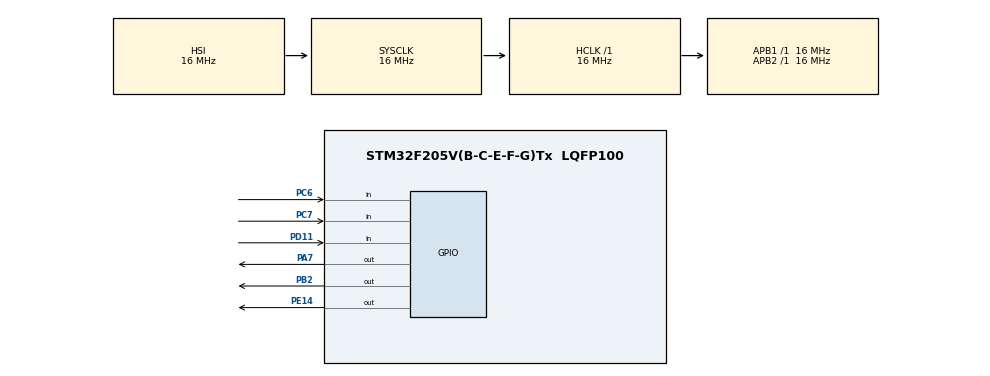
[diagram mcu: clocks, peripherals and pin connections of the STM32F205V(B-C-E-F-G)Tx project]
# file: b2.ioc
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Mcu.Family=STM32F2
Mcu.Name=STM32F205V(B-C-E-F-G)Tx
Mcu.Package=LQFP100
NVIC.PriorityGroup=NVIC_PRIORITYGROUP_4
PA13.Mode=Serial_Wire
PA13.Signal=SYS_JTMS-SWDIO
PA14.Mode=Serial_Wire
PA14.Signal=SYS_JTCK-SWCLK
PA7.Signal=GPIO_Output
PB2.Signal=GPIO_Output
PC6.Signal=GPIO_Input
PC7.Signal=GPIO_Input
PD11.Signal=GPIO_Input
PE14.Signal=GPIO_Output
ProjectManager.HeapSize=0x200
ProjectManager.StackSize=0x400
ProjectManager.TargetToolchain=MDK-ARM V5.32
RCC.48MHZClocksFreq_Value=48000000
RCC.AHBFreq_Value=16000000
RCC.APB1Freq_Value=16000000
RCC.APB2Freq_Value=16000000
RCC.CortexFreq_Value=16000000
RCC.HSE_VALUE=25000000
RCC.HSI_VALUE=16000000
RCC.LSE_VALUE=32768
RCC.SYSCLKFreq_VALUE=16000000
RCC.VCOOutputFreq_Value=192000000
board=custom

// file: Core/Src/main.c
/* USER CODE BEGIN Header */
/**
  ******************************************************************************
  * @file           : main.c
  * @brief          : Main program body
  ******************************************************************************
  * @attention
  *
  * Copyright (c) 2023 STMicroelectronics.
  * All rights reserved.
  *
  * This software is licensed under terms that can be found in the LICENSE file
  * in the root directory of this software component.
  * If no LICENSE file comes with this software, it is provided AS-IS.
  *
  ******************************************************************************
  */
/* USER CODE END Header */
#include "main.h"

/* USER CODE BEGIN PM */
uint8_t sysState = 0;
int Den_D1 = 1;
long int count =0;
/* USER CODE END PM */

void SystemClock_Config(void);
static void MX_GPIO_Init(void);

int main(void)
{

  /* MCU Configuration--------------------------------------------------------*/

  /* Reset of all peripherals, Initializes the Flash interface and the Systick. */
  HAL_Init();

  /* Configure the system clock */
  SystemClock_Config();

  /* Initialize all configured peripherals */
  MX_GPIO_Init();
  /* USER CODE BEGIN 2 */
	HAL_GPIO_WritePin(GPIOA,GPIO_PIN_7,1);
	HAL_GPIO_WritePin(GPIOB,GPIO_PIN_2,1);
  /* USER CODE END 2 */

  /* Infinite loop */
  while (1)
  {

    /* USER CODE BEGIN 3 */
		///// Port D11 la nut B1
		if(sysState == 0 && (HAL_GPIO_ReadPin(GPIOD,GPIO_PIN_11)) == GPIO_PIN_RESET){
			sysState = 1;
			Den_D1 =1;

		}
		if(sysState == 1 && (HAL_GPIO_ReadPin(GPIOD,GPIO_PIN_11)) == GPIO_PIN_SET){
			sysState = 2;
			Den_D1 =1;
		}
		if(sysState == 2 && (HAL_GPIO_ReadPin(GPIOD,GPIO_PIN_11)) == GPIO_PIN_RESET){
			sysState = 3;
			Den_D1 =0;
		}
		if(sysState == 3 && (HAL_GPIO_ReadPin(GPIOD,GPIO_PIN_11)) == GPIO_PIN_SET){
			sysState = 4;
			Den_D1 =0;
		}
		if(sysState == 4 && (HAL_GPIO_ReadPin(GPIOD,GPIO_PIN_11)) == GPIO_PIN_RESET){
			sysState = 1;
			Den_D1 =1;}

			////
			if( HAL_GPIO_ReadPin(GPIOC,GPIO_PIN_7)==0)
		{
			while(HAL_GPIO_ReadPin(GPIOC,GPIO_PIN_7)==0)
			{
				HAL_Delay(1);
			}
			Den_D1+=1;
			if (Den_D1==2)
			{
				Den_D1=0;
			}
		}
			/////// cau c
			if( (HAL_GPIO_ReadPin(GPIOC,GPIO_PIN_6)==0))
		{
			count=0;
			while(HAL_GPIO_ReadPin(GPIOC,GPIO_PIN_6)==0)
			{
				count+=1;
				HAL_Delay(1);
				if(count==1000)
				{
					sysState=0;
					Den_D1=1;
					break;
				}
			}
		}

		/////////////// cau D

	///OUTPUT
		if(sysState == 0){
				HAL_GPIO_WritePin(GPIOA,GPIO_PIN_7,Den_D1);
				HAL_GPIO_WritePin(GPIOB,GPIO_PIN_2,1);
			}
		if(sysState == 1){
				HAL_GPIO_WritePin(GPIOA,GPIO_PIN_7,Den_D1);
				HAL_GPIO_WritePin(GPIOB,GPIO_PIN_2,0);
			}
		if(sysState == 2){
				HAL_GPIO_WritePin(GPIOA,GPIO_PIN_7,Den_D1);
				HAL_GPIO_WritePin(GPIOB,GPIO_PIN_2,0);
			}

			if(sysState == 3){
				HAL_GPIO_WritePin(GPIOA,GPIO_PIN_7,Den_D1);
				HAL_GPIO_WritePin(GPIOB,GPIO_PIN_2,1);
			}
			if(sysState == 4){
				HAL_GPIO_WritePin(GPIOA,GPIO_PIN_7,Den_D1);
				HAL_GPIO_WritePin(GPIOB,GPIO_PIN_2,1);
			}
  /* USER CODE END 3 */

}
}
void SystemClock_Config(void)
{
  RCC_OscInitTypeDef RCC_OscInitStruct = {0};
  RCC_ClkInitTypeDef RCC_ClkInitStruct = {0};

  /** Initializes the RCC Oscillators according to the specified parameters
  * in the RCC_OscInitTypeDef structure.
  */
  RCC_OscInitStruct.OscillatorType = RCC_OSCILLATORTYPE_HSI;
  RCC_OscInitStruct.HSIState = RCC_HSI_ON;
  RCC_OscInitStruct.HSICalibrationValue = RCC_HSICALIBRATION_DEFAULT;
  RCC_OscInitStruct.PLL.PLLState = RCC_PLL_NONE;
  if (HAL_RCC_OscConfig(&RCC_OscInitStruct) != HAL_OK)
  {
    Error_Handler();
  }

  /** Initializes the CPU, AHB and APB buses clocks
  */
  RCC_ClkInitStruct.ClockType = RCC_CLOCKTYPE_HCLK|RCC_CLOCKTYPE_SYSCLK
                              |RCC_CLOCKTYPE_PCLK1|RCC_CLOCKTYPE_PCLK2;
  RCC_ClkInitStruct.SYSCLKSource = RCC_SYSCLKSOURCE_HSI;
  RCC_ClkInitStruct.AHBCLKDivider = RCC_SYSCLK_DIV1;
  RCC_ClkInitStruct.APB1CLKDivider = RCC_HCLK_DIV1;
  RCC_ClkInitStruct.APB2CLKDivider = RCC_HCLK_DIV1;

  if (HAL_RCC_ClockConfig(&RCC_ClkInitStruct, FLASH_LATENCY_0) != HAL_OK)
  {
    Error_Handler();
  }
}

static void MX_GPIO_Init(void)
{
  GPIO_InitTypeDef GPIO_InitStruct = {0};

  /* GPIO Ports Clock Enable */
  __HAL_RCC_GPIOA_CLK_ENABLE();
  __HAL_RCC_GPIOB_CLK_ENABLE();
  __HAL_RCC_GPIOE_CLK_ENABLE();
  __HAL_RCC_GPIOD_CLK_ENABLE();
  __HAL_RCC_GPIOC_CLK_ENABLE();

  /*Configure GPIO pin Output Level */
  HAL_GPIO_WritePin(GPIOA, GPIO_PIN_7, GPIO_PIN_RESET);

  /*Configure GPIO pin Output Level */
  HAL_GPIO_WritePin(GPIOB, GPIO_PIN_2, GPIO_PIN_RESET);

  /*Configure GPIO pin Output Level */
  HAL_GPIO_WritePin(GPIOE, GPIO_PIN_14, GPIO_PIN_RESET);

  /*Configure GPIO pin : PA7 */
  GPIO_InitStruct.Pin = GPIO_PIN_7;
  GPIO_InitStruct.Mode = GPIO_MODE_OUTPUT_PP;
  GPIO_InitStruct.Pull = GPIO_NOPULL;
  GPIO_InitStruct.Speed = GPIO_SPEED_FREQ_LOW;
  HAL_GPIO_Init(GPIOA, &GPIO_InitStruct);

  /*Configure GPIO pin : PB2 */
  GPIO_InitStruct.Pin = GPIO_PIN_2;
  GPIO_InitStruct.Mode = GPIO_MODE_OUTPUT_PP;
  GPIO_InitStruct.Pull = GPIO_NOPULL;
  GPIO_InitStruct.Speed = GPIO_SPEED_FREQ_LOW;
  HAL_GPIO_Init(GPIOB, &GPIO_InitStruct);

  /*Configure GPIO pin : PE14 */
  GPIO_InitStruct.Pin = GPIO_PIN_14;
  GPIO_InitStruct.Mode = GPIO_MODE_OUTPUT_PP;
  GPIO_InitStruct.Pull = GPIO_NOPULL;
  GPIO_InitStruct.Speed = GPIO_SPEED_FREQ_LOW;
  HAL_GPIO_Init(GPIOE, &GPIO_InitStruct);

  /*Configure GPIO pin : PD11 */
  GPIO_InitStruct.Pin = GPIO_PIN_11;
  GPIO_InitStruct.Mode = GPIO_MODE_INPUT;
  GPIO_InitStruct.Pull = GPIO_NOPULL;
  HAL_GPIO_Init(GPIOD, &GPIO_InitStruct);

  /*Configure GPIO pins : PC6 PC7 */
  GPIO_InitStruct.Pin = GPIO_PIN_6|GPIO_PIN_7;
  GPIO_InitStruct.Mode = GPIO_MODE_INPUT;
  GPIO_InitStruct.Pull = GPIO_NOPULL;
  HAL_GPIO_Init(GPIOC, &GPIO_InitStruct);

}

void Error_Handler(void)
{
  __disable_irq();
  while (1)
  {
  }
}
